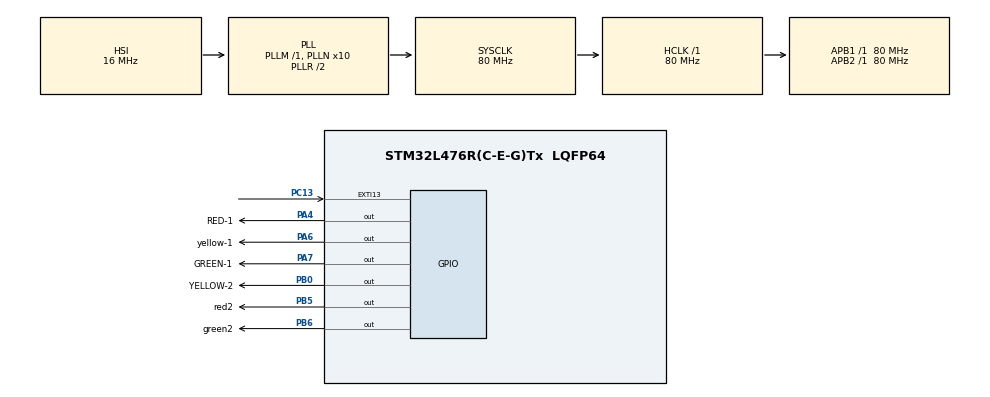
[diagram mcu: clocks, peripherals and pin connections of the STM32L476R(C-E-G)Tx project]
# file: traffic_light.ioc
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Mcu.Family=STM32L4
Mcu.Name=STM32L476R(C-E-G)Tx
Mcu.Package=LQFP64
NVIC.EXTI15_10_IRQn=true\:0\:0\:false\:false\:false\:true\:true\:true
NVIC.PriorityGroup=NVIC_PRIORITYGROUP_4
NVIC.TIM6_DAC_IRQn=true\:15\:0\:false\:false\:true\:false\:true\:true
NVIC.TimeBase=TIM6_DAC_IRQn
NVIC.TimeBaseIP=TIM6
PA13\ (JTMS-SWDIO).GPIO_Label=TMS
PA13\ (JTMS-SWDIO).Signal=SYS_JTMS-SWDIO
PA14\ (JTCK-SWCLK).GPIO_Label=TCK
PA14\ (JTCK-SWCLK).Signal=SYS_JTCK-SWCLK
PA2.GPIO_Label=USART_TX
PA2.GPIO_Mode=GPIO_MODE_AF_PP
PA2.GPIO_PuPd=GPIO_NOPULL
PA2.GPIO_Speed=GPIO_SPEED_FREQ_VERY_HIGH
PA2.Signal=USART2_TX
PA3.GPIO_Label=USART_RX
PA3.GPIO_Mode=GPIO_MODE_AF_PP
PA3.GPIO_PuPd=GPIO_NOPULL
PA3.GPIO_Speed=GPIO_SPEED_FREQ_VERY_HIGH
PA3.Signal=USART2_RX
PA4.GPIO_Label=RED-1
PA4.Signal=GPIO_Output
PA6.GPIO_Label=yellow-1
PA6.Signal=GPIO_Output
PA7.GPIO_Label=GREEN-1
PA7.Signal=GPIO_Output
PB0.GPIO_Label=YELLOW-2
PB0.Signal=GPIO_Output
PB3\ (JTDO-TRACESWO).GPIO_Label=SWO
PB3\ (JTDO-TRACESWO).Signal=SYS_JTDO-SWO
PB5.GPIO_Label=red2
PB5.Signal=GPIO_Output
PB6.GPIO_Label=green2
PB6.Signal=GPIO_Output
PC13.GPIO_ModeDefaultEXTI=GPIO_MODE_IT_FALLING
PC13.Signal=GPXTI13
PC14-OSC32_IN\ (PC14).Signal=RCC_OSC32_IN
PC15-OSC32_OUT\ (PC15).Signal=RCC_OSC32_OUT
PH0-OSC_IN\ (PH0).Signal=RCC_OSC_IN
PH1-OSC_OUT\ (PH1).Signal=RCC_OSC_OUT
ProjectManager.HeapSize=0x200
ProjectManager.StackSize=0x400
ProjectManager.TargetToolchain=STM32CubeIDE
RCC.ADCFreq_Value=64000000
RCC.AHBFreq_Value=80000000
RCC.APB1Freq_Value=80000000
RCC.APB1TimFreq_Value=80000000
RCC.APB2Freq_Value=80000000
RCC.APB2TimFreq_Value=80000000
RCC.CortexFreq_Value=80000000
RCC.HCLKFreq_Value=80000000
RCC.HSE_VALUE=8000000
RCC.HSI_VALUE=16000000
RCC.LSE_VALUE=32768
RCC.MSI_VALUE=4000000
RCC.PLLN=10
RCC.PLLSourceVirtual=RCC_PLLSOURCE_HSI
RCC.PREFETCH_ENABLE=1
RCC.SYSCLKFreq_VALUE=80000000
RCC.SYSCLKSource=RCC_SYSCLKSOURCE_PLLCLK
RCC.USBFreq_Value=64000000
RCC.VCOOutputFreq_Value=160000000
VP_SYS_VS_tim6.Mode=TIM6
board=NUCLEO-L476RG

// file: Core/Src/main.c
/* USER CODE BEGIN Header */
/**
  ******************************************************************************
  * @file           : main.c
  * @brief          : Main program body
  ******************************************************************************
  * @attention
  *
  * Copyright (c) 2023 STMicroelectronics.
  * All rights reserved.
  *
  * This software is licensed under terms that can be found in the LICENSE file
  * in the root directory of this software component.
  * If no LICENSE file comes with this software, it is provided AS-IS.
  *
  ******************************************************************************
  */
/* USER CODE END Header */
#include "main.h"

/* USER CODE BEGIN Includes */
#include "FreeRTOS.h"
#include "task.h"
#include <stdio.h>
#include "semphr.h"
/* USER CODE END Includes */

/* USER CODE BEGIN PV */
#define DWT_CTRL  (*(volatile uint32_t*)0xE0001000)
/* USER CODE END PV */

void SystemClock_Config(void);
static void MX_GPIO_Init(void);
/* USER CODE BEGIN PFP */
void task1_handler(void *parameter);
void task2_handler(void *parameter);
void task3_handler(void *parameter);
void task4_handler(void *parameter);
/* USER CODE END PFP */

/* USER CODE BEGIN 0 */
TaskHandle_t task1_handle;
TaskHandle_t task2_handle;
TaskHandle_t task3_handle;
TaskHandle_t task4_handle;
BaseType_t status;
SemaphoreHandle_t xMutex, xMutex1;
/* USER CODE END 0 */

int main(void)
{

  /* MCU Configuration--------------------------------------------------------*/

  /* Reset of all peripherals, Initializes the Flash interface and the Systick. */
  HAL_Init();

  /* Configure the system clock */
  SystemClock_Config();

  /* Initialize all configured peripherals */
  MX_GPIO_Init();
  /* USER CODE BEGIN 2 */

  DWT_CTRL |= (1<<0);
  SEGGER_SYSVIEW_Conf();
  SEGGER_SYSVIEW_Start();
  status  = xTaskCreate(task1_handler, "Task1", 200, NULL, 2, &task1_handle);
  configASSERT(status == pdPASS);
  status = xTaskCreate(task2_handler, "Task2", 200, NULL, 2, &task2_handle);
  configASSERT(status == pdPASS);
  status = xTaskCreate(task3_handler, "Task3", 200, NULL, 2, &task3_handle);
  configASSERT(status == pdPASS);
  status = xTaskCreate(task4_handler, "Task4", 200, NULL, 1, &task4_handle);
  configASSERT(status == pdPASS);
  xMutex = xSemaphoreCreateMutex();
  xMutex1 = xSemaphoreCreateMutex();
  vTaskStartScheduler();
  /* USER CODE END 2 */

  /* Infinite loop */
  while (1)
  {

  }
}

void SystemClock_Config(void)
{
  RCC_OscInitTypeDef RCC_OscInitStruct = {0};
  RCC_ClkInitTypeDef RCC_ClkInitStruct = {0};

  /** Configure the main internal regulator output voltage
  */
  if (HAL_PWREx_ControlVoltageScaling(PWR_REGULATOR_VOLTAGE_SCALE1) != HAL_OK)
  {
    Error_Handler();
  }

  /** Initializes the RCC Oscillators according to the specified parameters
  * in the RCC_OscInitTypeDef structure.
  */
  RCC_OscInitStruct.OscillatorType = RCC_OSCILLATORTYPE_HSI;
  RCC_OscInitStruct.HSIState = RCC_HSI_ON;
  RCC_OscInitStruct.HSICalibrationValue = RCC_HSICALIBRATION_DEFAULT;
  RCC_OscInitStruct.PLL.PLLState = RCC_PLL_ON;
  RCC_OscInitStruct.PLL.PLLSource = RCC_PLLSOURCE_HSI;
  RCC_OscInitStruct.PLL.PLLM = 1;
  RCC_OscInitStruct.PLL.PLLN = 10;
  RCC_OscInitStruct.PLL.PLLP = RCC_PLLP_DIV7;
  RCC_OscInitStruct.PLL.PLLQ = RCC_PLLQ_DIV2;
  RCC_OscInitStruct.PLL.PLLR = RCC_PLLR_DIV2;
  if (HAL_RCC_OscConfig(&RCC_OscInitStruct) != HAL_OK)
  {
    Error_Handler();
  }

  /** Initializes the CPU, AHB and APB buses clocks
  */
  RCC_ClkInitStruct.ClockType = RCC_CLOCKTYPE_HCLK|RCC_CLOCKTYPE_SYSCLK
                              |RCC_CLOCKTYPE_PCLK1|RCC_CLOCKTYPE_PCLK2;
  RCC_ClkInitStruct.SYSCLKSource = RCC_SYSCLKSOURCE_PLLCLK;
  RCC_ClkInitStruct.AHBCLKDivider = RCC_SYSCLK_DIV1;
  RCC_ClkInitStruct.APB1CLKDivider = RCC_HCLK_DIV1;
  RCC_ClkInitStruct.APB2CLKDivider = RCC_HCLK_DIV1;

  if (HAL_RCC_ClockConfig(&RCC_ClkInitStruct, FLASH_LATENCY_4) != HAL_OK)
  {
    Error_Handler();
  }
}

static void MX_GPIO_Init(void)
{
  GPIO_InitTypeDef GPIO_InitStruct = {0};

  /* GPIO Ports Clock Enable */
  __HAL_RCC_GPIOC_CLK_ENABLE();
  __HAL_RCC_GPIOH_CLK_ENABLE();
  __HAL_RCC_GPIOA_CLK_ENABLE();
  __HAL_RCC_GPIOB_CLK_ENABLE();

  /*Configure GPIO pin Output Level */
  HAL_GPIO_WritePin(GPIOA, RED_1_Pin|yellow_1_Pin|GREEN_1_Pin, GPIO_PIN_RESET);

  /*Configure GPIO pin Output Level */
  HAL_GPIO_WritePin(GPIOB, YELLOW_2_Pin|red2_Pin|green2_Pin, GPIO_PIN_RESET);

  /*Configure GPIO pin : PC13 */
  GPIO_InitStruct.Pin = GPIO_PIN_13;
  GPIO_InitStruct.Mode = GPIO_MODE_IT_FALLING;
  GPIO_InitStruct.Pull = GPIO_NOPULL;
  HAL_GPIO_Init(GPIOC, &GPIO_InitStruct);

  /*Configure GPIO pins : USART_TX_Pin USART_RX_Pin */
  GPIO_InitStruct.Pin = USART_TX_Pin|USART_RX_Pin;
  GPIO_InitStruct.Mode = GPIO_MODE_AF_PP;
  GPIO_InitStruct.Pull = GPIO_NOPULL;
  GPIO_InitStruct.Speed = GPIO_SPEED_FREQ_VERY_HIGH;
  GPIO_InitStruct.Alternate = GPIO_AF7_USART2;
  HAL_GPIO_Init(GPIOA, &GPIO_InitStruct);

  /*Configure GPIO pins : RED_1_Pin yellow_1_Pin GREEN_1_Pin */
  GPIO_InitStruct.Pin = RED_1_Pin|yellow_1_Pin|GREEN_1_Pin;
  GPIO_InitStruct.Mode = GPIO_MODE_OUTPUT_PP;
  GPIO_InitStruct.Pull = GPIO_NOPULL;
  GPIO_InitStruct.Speed = GPIO_SPEED_FREQ_LOW;
  HAL_GPIO_Init(GPIOA, &GPIO_InitStruct);

  /*Configure GPIO pins : YELLOW_2_Pin red2_Pin green2_Pin */
  GPIO_InitStruct.Pin = YELLOW_2_Pin|red2_Pin|green2_Pin;
  GPIO_InitStruct.Mode = GPIO_MODE_OUTPUT_PP;
  GPIO_InitStruct.Pull = GPIO_NOPULL;
  GPIO_InitStruct.Speed = GPIO_SPEED_FREQ_LOW;
  HAL_GPIO_Init(GPIOB, &GPIO_InitStruct);

  /* EXTI interrupt init*/
  HAL_NVIC_SetPriority(EXTI15_10_IRQn, 0, 0);
  HAL_NVIC_EnableIRQ(EXTI15_10_IRQn);

}

/* USER CODE BEGIN 4 */
void task1_handler(void *parameter)
{
	TickType_t xLastWakeTime;
	xLastWakeTime = xTaskGetTickCount();
	while(1){
		xTaskNotify(task2_handle,0, eNoAction); // red on for
		xTaskNotify(task3_handle,0, eNoAction);
//		vTaskDelayUntil(&xLastWakeTime, pdMS_TO_TICKS(8000));
	}
}

void task2_handler(void *parameter)
{
	uint32_t not_val;
	TickType_t xLastWakeTime1, xLastWakeTime2, xLastWakeTime3;
	xLastWakeTime1 = xTaskGetTickCount();
	xLastWakeTime2 = xTaskGetTickCount();
	xLastWakeTime3 = xTaskGetTickCount();
	while(1){
		if(xTaskNotifyWait(0,0, &not_val, portMAX_DELAY)== pdTRUE){   // 2nd parameter is used to clear the bits on exit
			printf("Red-1 LED ON\n");
			HAL_GPIO_WritePin(GPIOA, GPIO_PIN_4, GPIO_PIN_SET);
			HAL_GPIO_WritePin(GPIOA, GPIO_PIN_6, GPIO_PIN_RESET);
			HAL_GPIO_WritePin(GPIOA, GPIO_PIN_7, GPIO_PIN_RESET);
//			vTaskDelayUntil(&xLastWakeTime1, pdMS_TO_TICKS(4000));
			vTaskDelay(pdMS_TO_TICKS(4000));
			printf("Green-1 LED ON\n");
			HAL_GPIO_WritePin(GPIOA, GPIO_PIN_4, GPIO_PIN_RESET);
			HAL_GPIO_WritePin(GPIOA, GPIO_PIN_6, GPIO_PIN_RESET);
			HAL_GPIO_WritePin(GPIOA, GPIO_PIN_7, GPIO_PIN_SET);
//			vTaskDelayUntil(&xLastWakeTime2,pdMS_TO_TICKS(7000));
			vTaskDelay(pdMS_TO_TICKS(3000));
			printf("Yellow-1 LED ON\n");
			HAL_GPIO_WritePin(GPIOA, GPIO_PIN_4, GPIO_PIN_RESET);
			HAL_GPIO_WritePin(GPIOA, GPIO_PIN_6, GPIO_PIN_SET);
			HAL_GPIO_WritePin(GPIOA, GPIO_PIN_7, GPIO_PIN_RESET);
//			vTaskDelayUntil(&xLastWakeTime3,pdMS_TO_TICKS(8000));
			vTaskDelay(pdMS_TO_TICKS(1000));
		}
	}
}

void task3_handler(void *parameter)
{
	uint32_t not_val;
	TickType_t xLastWakeTime1, xLastWakeTime2, xLastWakeTime3;
	xLastWakeTime1 = xTaskGetTickCount();
	xLastWakeTime2 = xTaskGetTickCount();
	xLastWakeTime3 = xTaskGetTickCount();
	while(1){
		if(xTaskNotifyWait(0,0, &not_val, portMAX_DELAY)== pdTRUE){   // 2nd parameter is used to clear the bits on exit
			printf("Green-2 LED ON\n");
			HAL_GPIO_WritePin(GPIOB, GPIO_PIN_5, GPIO_PIN_RESET);
			HAL_GPIO_WritePin(GPIOB, GPIO_PIN_0, GPIO_PIN_RESET);
			HAL_GPIO_WritePin(GPIOB, GPIO_PIN_6, GPIO_PIN_SET);
//			vTaskDelayUntil(&xLastWakeTime1, pdMS_TO_TICKS(3000));
			vTaskDelay(pdMS_TO_TICKS(3000));
			printf("Yellow-2 LED ON\n");
			HAL_GPIO_WritePin(GPIOB, GPIO_PIN_5, GPIO_PIN_RESET);
			HAL_GPIO_WritePin(GPIOB, GPIO_PIN_0, GPIO_PIN_SET);
			HAL_GPIO_WritePin(GPIOB, GPIO_PIN_6, GPIO_PIN_RESET);
//			vTaskDelayUntil(&xLastWakeTime2, pdMS_TO_TICKS(4000));
			vTaskDelay(pdMS_TO_TICKS(1000));
			printf("Red-2 LED ON\n");
			HAL_GPIO_WritePin(GPIOB, GPIO_PIN_5, GPIO_PIN_SET);
			HAL_GPIO_WritePin(GPIOB, GPIO_PIN_0, GPIO_PIN_RESET);
			HAL_GPIO_WritePin(GPIOB, GPIO_PIN_6, GPIO_PIN_RESET);
//			vTaskDelayUntil(&xLastWakeTime3, pdMS_TO_TICKS(8000));
			vTaskDelay(pdMS_TO_TICKS(4000));
		}
	}
}

void task4_handler(void *parameter)
{
	TickType_t xLastWakeTime;
	xLastWakeTime = xTaskGetTickCount();
	while(1){
		vTaskSuspend(NULL);
		HAL_GPIO_WritePin(GPIOA, GPIO_PIN_4, GPIO_PIN_SET);
		HAL_GPIO_WritePin(GPIOA, GPIO_PIN_6, GPIO_PIN_RESET);
		HAL_GPIO_WritePin(GPIOA, GPIO_PIN_7, GPIO_PIN_RESET);

		HAL_GPIO_WritePin(GPIOC, GPIO_PIN_5, GPIO_PIN_SET);
		HAL_GPIO_WritePin(GPIOB, GPIO_PIN_0, GPIO_PIN_RESET);
		HAL_GPIO_WritePin(GPIOB, GPIO_PIN_1, GPIO_PIN_RESET);
//		vTaskDelayUntil(&xLastWakeTime, pdMS_TO_TICKS(2000));
//		vTaskDelay(pdMS_TO_TICKS(20000));
		for(int i = 0; i< 1024; i++){
			for(int j = 0; j< 200;j++);
		}
	}
}

void EXTI15_10_IRQHandler(void)
{
  /* USER CODE BEGIN EXTI15_10_IRQn 0 */
//
  /* USER CODE END EXTI15_10_IRQn 0 */
  HAL_GPIO_EXTI_IRQHandler(GPIO_PIN_13);
  /* USER CODE BEGIN EXTI15_10_IRQn 1 */
  BaseType_t xYieldRequired;
  xYieldRequired = xTaskResumeFromISR( task4_handle );
  portYIELD_FROM_ISR( xYieldRequired );
  /* USER CODE END EXTI15_10_IRQn 1 */
}
/* USER CODE END 4 */

void HAL_TIM_PeriodElapsedCallback(TIM_HandleTypeDef *htim)
{
  if (htim->Instance == TIM6) {
    HAL_IncTick();
  }
}

void Error_Handler(void)
{
  __disable_irq();
  while (1)
  {
  }
}
